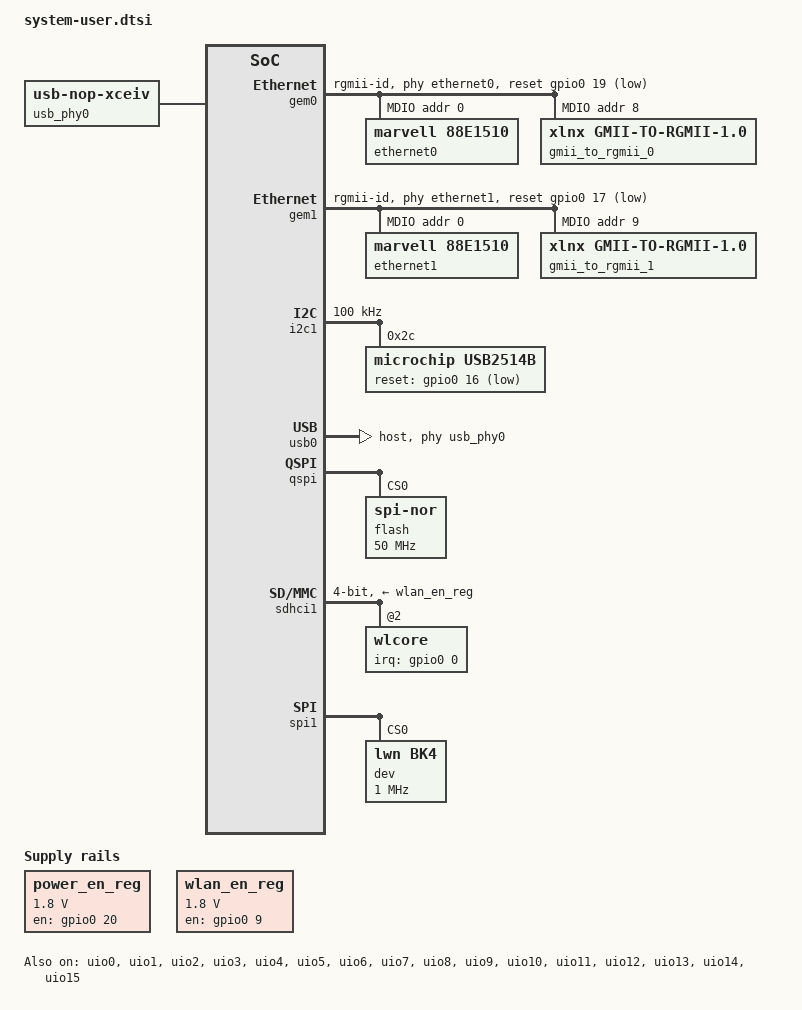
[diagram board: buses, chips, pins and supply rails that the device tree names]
/include/ "system-conf.dtsi"

/{ 	
    // aliases{ 		
    //     ethernet0 = &gem0;
    //     ethernet1 = &gem1; 	
    // };

    // chosen {};

    // POWER EN
    power_en_reg: fixed-regulator-powen {
        compatible = "regulator-fixed";
        regulator-name = "power-en-regulator";
        gpio = <&gpio0 20 4>;
        regulator-min-microvolt = <1800000>;
        regulator-max-microvolt = <1800000>;
        startup-delay-us = <70000>;
        regulator-always-on;
        enable-active-high;
    };

    wlan_en_reg: fixed-regulator-wlen {
        compatible = "regulator-fixed";
        regulator-name = "wlan-en-regulator";
        regulator-min-microvolt = <1800000>;
        regulator-max-microvolt = <1800000>;
        startup-delay-us = <70000>;

        // WLAN_EN GPIO for this board
        gpio = <&gpio0 9 4>;
        enable-active-high;
    };

    // USB
    usb_phy0: usb-phy {
		compatible = "usb-nop-xceiv";
		#phy-cells = <0>;
		view-port = <0x170>;
		drv-vbus;
	};

};

&gem0 {
    phy-handle = <&ethernet0>;
    phy-mode = "rgmii-id";
    reset-gpios = <&gpio0 19 1>;
    gmii2rgmii-phy-handle = <&gmii_to_rgmii_0>;

	ps7_ethernet_0_mdio: mdio {
		#address-cells = <1>;
		#size-cells = <0>;
        ethernet0: ethernet-phy@0 {
            compatible = "marvell,88e1510";
            reg = <0x0>;
            device_type = "ethernet-phy";
            
        }; 
		gmii_to_rgmii_0: gmii_to_rgmii_0@8 {
			compatible = "xlnx,gmii-to-rgmii-1.0";
			reg = <8>;
            phy-handle = <&ethernet0>;
		};
	};
};

&gem1 {
    local-mac-address = [00 0a 35 00 c0 13];
    phy-handle = <&ethernet1>;
    phy-mode = "rgmii-id";
    reset-gpios = <&gpio0 17 1>;
    gmii2rgmii-phy-handle = <&gmii_to_rgmii_1>;
    
    ps7_ethernet_1_mdio: mdio {
        #address-cells = <1>;
        #size-cells = <0>;
        ethernet1: ethernet-phy@1 {
            compatible = "marvell,88e1510";
            reg = <0x0>;
            device_type = "ethernet-phy";
        };  
        gmii_to_rgmii_1: gmii_to_rgmii_1@9 {
            compatible = "xlnx,gmii-to-rgmii-1.0";
            reg = <9>;
			phy-handle = <&ethernet1>;
        };
    };  
};

&i2c1 {
    //usb hub
	status = "okay";
	clock-frequency = <100000>;
    
    usb2514b@2c {
		compatible = "microchip,usb2514b";
		reg = <0x2c>;
		reset-gpios = <&gpio0 16 1>;
	};
};

&usb0 {
	status = "okay";
	dr_mode = "host";
	usb-phy = <&usb_phy0>;
};

&qspi {
    // QSPI
    status = "okay";
    is-dual = <0>;
    num-cs = <1>;
    xlnx,qspi-mode = <1>;

    flash@0 {
        #address-cells = <1>;
        #size-cells =<1>;
        compatible = "jedec,spi-nor";
        reg = <0>;
        spi-max-frequency = <50000000>;
        m25p,fast-read;
    };
};

&sdhci1 {
    // Wi-Fi
    vmmc-supply = <&wlan_en_reg>;
    bus-width = <4>;
    cap-power-off-card;
    keep-power-in-suspend;
    #address-cells = <1>;
    #size-cells = <0>;

    wlcore: wlcore@0 {
        compatible = "wlcore", "ti,wl1837";
        reg = <2>;
        interrupt-parent = <&gpio0>;
        interrupts = <0 4>;
    };
};

&spi1 {
    status = "okay";
    num-cs = <1>;
    is-decoded-cs = <0>;
    #address-cells = <1>;
    #size-cells = <0>;

    dev@0 {
        compatible = "lwn,bk4";
        reg = <0>;
        spi-max-frequency = <1000000>;
    };
};

&amba {
	fpga-axi@0 {
		compatible = "simple-bus";
		#address-cells = <0x01>;
		#size-cells = <0x01>;
		ranges;
		interrupt-parent = <0x04>;

		uio0: uio0@40000000 {
			reg = <0x40000000 0x80000000>;
			compatible = "krtkl,generic-uio,ui_pdrv";
			status = "okay";
			interrupt-parent = <&intc>;
			interrupts = <0 29 4>;
		};

		uio1: uio1@40000000 {
			reg = <0x40000000 0x80000000>;
			compatible = "krtkl,generic-uio,ui_pdrv";
			status = "okay";
			interrupt-parent = <&intc>;
			interrupts = <0 30 4>;
		};

		uio2: uio2@40000000 {
			reg = <0x40000000 0x80000000>;
			compatible = "krtkl,generic-uio,ui_pdrv";
			status = "okay";
			interrupt-parent = <&intc>;
			interrupts = <0 31 4>;
		};

		uio3: uio3@40000000 {
			reg = <0x40000000 0x80000000>;
			compatible = "krtkl,generic-uio,ui_pdrv";
			status = "okay";
			interrupt-parent = <&intc>;
			interrupts = <0 32 4>;
		};

		uio4: uio4@40000000 {
			reg = <0x40000000 0x80000000>;
			compatible = "krtkl,generic-uio,ui_pdrv";
			status = "okay";
			interrupt-parent = <&intc>;
			interrupts = <0 33 4>;
		};

		uio5: uio5@40000000 {
			reg = <0x40000000 0x80000000>;
			compatible = "krtkl,generic-uio,ui_pdrv";
			status = "okay";
			interrupt-parent = <&intc>;
			interrupts = <0 34 4>;
		};

		uio6: uio6@40000000 {
			reg = <0x40000000 0x80000000>;
			compatible = "krtkl,generic-uio,ui_pdrv";
			status = "okay";
			interrupt-parent = <&intc>;
			interrupts = <0 35 4>;
		};

		uio7: uio7@40000000 {
			reg = <0x40000000 0x80000000>;
			compatible = "krtkl,generic-uio,ui_pdrv";
			status = "okay";
			interrupt-parent = <&intc>;
			interrupts = <0 36 4>;
		};

		uio8: uio8@40000000 {
			reg = <0x40000000 0x80000000>;
			compatible = "krtkl,generic-uio,ui_pdrv";
			status = "okay";
			interrupt-parent = <&intc>;
			interrupts = <0 52 4>;
		};

		uio9: uio9@40000000 {
			reg = <0x40000000 0x80000000>;
			compatible = "krtkl,generic-uio,ui_pdrv";
			status = "okay";
			interrupt-parent = <&intc>;
			interrupts = <0 53 4>;
		};

		uio10: uio10@40000000 {
			reg = <0x40000000 0x80000000>;
			compatible = "krtkl,generic-uio,ui_pdrv";
			status = "okay";
			interrupt-parent = <&intc>;
			interrupts = <0 54 4>;
		};

		uio11: uio11@40000000 {
			reg = <0x40000000 0x80000000>;
			compatible = "krtkl,generic-uio,ui_pdrv";
			status = "okay";
			interrupt-parent = <&intc>;
			interrupts = <0 55 4>;
		};

		uio12: uio12@40000000 {
			reg = <0x40000000 0x80000000>;
			compatible = "krtkl,generic-uio,ui_pdrv";
			status = "okay";
			interrupt-parent = <&intc>;
			interrupts = <0 56 4>;
		};

		uio13: uio13@40000000 {
			reg = <0x40000000 0x80000000>;
			compatible = "krtkl,generic-uio,ui_pdrv";
			status = "okay";
			interrupt-parent = <&intc>;
			interrupts = <0 57 4>;
		};

		uio14: uio14@40000000 {
			reg = <0x40000000 0x80000000>;
			compatible = "krtkl,generic-uio,ui_pdrv";
			status = "okay";
			interrupt-parent = <&intc>;
			interrupts = <0 58 4>;
		};

		uio15: uio15@40000000 {
			reg = <0x40000000 0x80000000>;
			compatible = "krtkl,generic-uio,ui_pdrv";
			status = "okay";
			interrupt-parent = <&intc>;
			interrupts = <0 59 4>;
		};
	};
};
